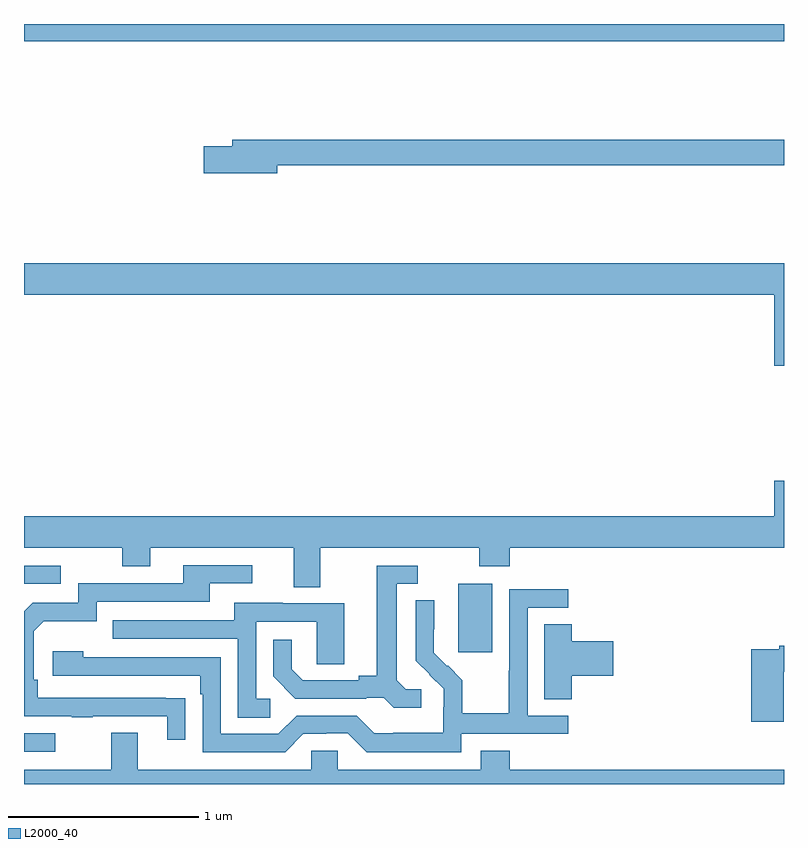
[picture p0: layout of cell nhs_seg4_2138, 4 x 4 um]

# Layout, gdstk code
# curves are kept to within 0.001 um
import gdstk
lib = gdstk.Library(unit=1e-6, precision=1e-09)
def R(c, l, rs):  # rectangles x0, y0, x1, y1
    for r in rs: c.add(gdstk.rectangle(r[:2], r[2:], *l))
def P(c, l, *ps):  # polygons
    for p in ps: c.add(gdstk.Polygon(p, *l))
L2000_40 = (2000, 40)

nhs_seg4_2138 = lib.new_cell('nhs_seg4_2138')
R(nhs_seg4_2138, L2000_40, [(221,805.071,221.164,805.167), (223.286,805.593,223.465,805.954), (221,805.953,221.194,806.049), (221,808.808,225,808.9)])
P(nhs_seg4_2138, L2000_40, [(222.334,808.156),(225,808.156),(225,808.292),(222.095,808.292),(222.095,808.256),(221.946,808.256),(221.946,808.114),(222.334,808.114)],
  [(225,807.64),(221,807.64),(221,807.476),(224.948,807.476),(224.948,807.102),(225,807.102)],
  [(222.559,806.144),(223.396,806.144),(223.396,806.045),(223.556,806.045),(223.556,806.144),(225,806.144),(225,806.497),(224.948,806.497),(224.948,806.308),(221,806.308),(221,806.144),(221.518,806.144),(221.518,806.045),(221.665,806.045),(221.665,806.144),(222.419,806.144),(222.419,805.936),(222.559,805.936)],
  [(221.849,805.352),(221.072,805.353),(221.072,805.45),(221.052,805.45),(221.052,805.704),(221.105,805.757),(221.382,805.757),(221.382,805.86),(221.977,805.86),(221.977,805.956),(222.202,805.956),(222.202,806.052),(221.837,806.052),(221.837,805.956),(221.286,805.956),(221.286,805.854),(221.046,805.854),(221,805.808),(221,805.257),(221.251,805.257),(221.251,805.252),(221.363,805.252),(221.363,805.257),(221.753,805.257),(221.753,805.134),(221.849,805.134)],
  [(223.09,805.398),(223.008,805.398),(222.961,805.445),(222.961,805.953),(223.072,805.953),(223.072,806.049),(222.857,806.049),(222.857,805.469),(222.761,805.469),(222.761,805.446),(222.466,805.446),(222.409,805.503),(222.409,805.66),(222.312,805.66),(222.312,805.466),(222.428,805.35),(222.8,805.35),(222.8,805.353),(222.894,805.353),(222.946,805.301),(223.09,805.301)],
  [(223.302,805.164),(223.864,805.164),(223.864,805.26),(223.65,805.26),(223.65,805.827),(223.864,805.827),(223.864,805.926),(223.554,805.926),(223.554,805.496),(223.552,805.496),(223.552,805.273),(223.307,805.273),(223.307,805.447),(223.23,805.524),(223.227,805.521),(223.157,805.592),(223.158,805.868),(223.062,805.868),(223.062,805.55),(223.208,805.402),(223.208,805.305),(223.206,805.305),(223.206,805.171),(222.943,805.171),(222.943,805.167),(222.843,805.167),(222.75,805.26),(222.435,805.26),(222.339,805.164),(222.036,805.164),(222.036,805.566),(221.312,805.566),(221.312,805.6),(221.151,805.6),(221.151,805.47),(221.927,805.47),(221.927,805.373),(221.94,805.373),(221.94,805.068),(222.375,805.068),(222.471,805.164),(222.59,805.164),(222.59,805.167),(222.705,805.167),(222.805,805.067),(223.302,805.067)],
  [(222.295,805.35),(222.222,805.35),(222.222,805.755),(222.54,805.755),(222.54,805.531),(222.685,805.531),(222.685,805.851),(222.361,805.851),(222.361,805.855),(222.107,805.855),(222.107,805.761),(221.467,805.761),(221.467,805.665),(222.126,805.665),(222.126,805.249),(222.295,805.249)],
  [(223.883,805.469),(224.101,805.469),(224.101,805.652),(223.883,805.652),(223.883,805.742),(223.739,805.742),(223.739,805.345),(223.883,805.345)],
  [(224.998,805.492),(225,805.492),(225,805.628),(224.974,805.628),(224.974,805.608),(224.828,805.608),(224.828,805.227),(224.998,805.227)],
  [(225,804.976),(223.556,804.976),(223.556,805.075),(223.403,805.075),(223.403,804.976),(222.651,804.976),(222.651,805.074),(222.513,805.074),(222.513,804.976),(221.599,804.976),(221.599,805.171),(221.459,805.171),(221.459,804.976),(221,804.976),(221,804.9),(225,804.9)])

lib.write_gds('nhs_seg4_2138.gds')
